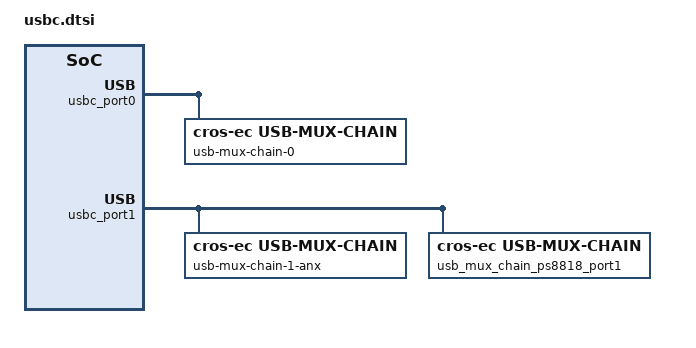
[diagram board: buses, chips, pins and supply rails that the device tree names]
/* Copyright 2022 The ChromiumOS Authors
 * Use of this source code is governed by a BSD-style license that can be
 * found in the LICENSE file.
 */

/ {
	usbc {
		#address-cells = <1>;
		#size-cells = <0>;

		usbc_port0: port0@0 {
			compatible = "named-usbc-port";
			reg = <0>;
			bc12 = <&bc12_port0>;
			tcpc = <&tcpc_port0>;
			chg = <&charger>;
			chg_alt = <&alt_charger>;
			ppc = <&ppc_port0>;
			usb-mux-chain-0 {
				compatible = "cros-ec,usb-mux-chain";
				usb-muxes = <&amd_fp6_port0 &anx7483_port0>;
			};
		};

		usbc_port1: port1@1 {
			compatible = "named-usbc-port";
			reg = <1>;
			bc12 = <&bc12_port1>;
			tcpc = <&tcpc_port1>;
			ppc = <&ppc_port1>;
			usb-mux-chain-1-anx {
				compatible = "cros-ec,usb-mux-chain";
				usb-muxes = <&amd_fp6_port1 &anx7483_port1>;
			};
			usb_mux_chain_ps8818_port1: usb-mux-chain-1-ps {
				compatible = "cros-ec,usb-mux-chain";
				usb-muxes = <&amd_fp6_port1 &ps8818_port1>;
				alternative-chain;
			};
		};
	};
};
